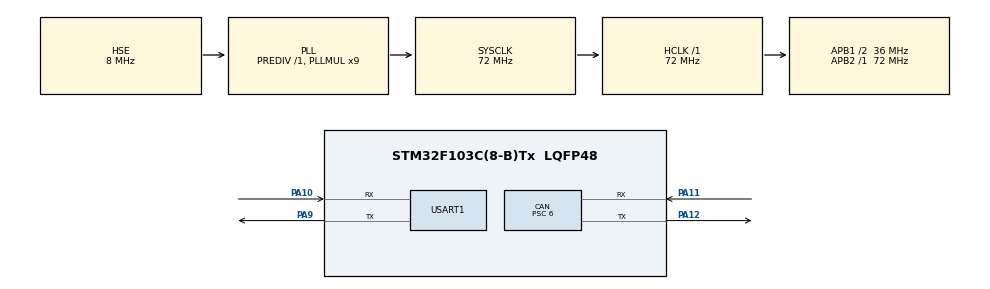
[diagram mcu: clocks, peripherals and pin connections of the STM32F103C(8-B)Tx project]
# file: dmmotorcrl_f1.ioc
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CAN.BS1=CAN_BS1_2TQ
CAN.BS2=CAN_BS2_3TQ
CAN.CalculateBaudRate=999999
CAN.CalculateTimeBit=1000
CAN.CalculateTimeQuantum=166.66666666666669
CAN.NART=ENABLE
CAN.Prescaler=6
Dma.Request0=USART1_TX
Dma.USART1_TX.0.Direction=DMA_MEMORY_TO_PERIPH
Dma.USART1_TX.0.Instance=DMA1_Channel4
Dma.USART1_TX.0.MemDataAlignment=DMA_MDATAALIGN_BYTE
Dma.USART1_TX.0.MemInc=DMA_MINC_ENABLE
Dma.USART1_TX.0.Mode=DMA_NORMAL
Dma.USART1_TX.0.PeriphDataAlignment=DMA_PDATAALIGN_BYTE
Dma.USART1_TX.0.PeriphInc=DMA_PINC_DISABLE
Dma.USART1_TX.0.Priority=DMA_PRIORITY_LOW
Mcu.Family=STM32F1
Mcu.Name=STM32F103C(8-B)Tx
Mcu.Package=LQFP48
NVIC.CAN1_RX1_IRQn=true\:0\:0\:false\:false\:true\:true\:true\:true
NVIC.DMA1_Channel4_IRQn=true\:0\:0\:false\:false\:true\:false\:true\:true
NVIC.PriorityGroup=NVIC_PRIORITYGROUP_4
NVIC.USB_LP_CAN1_RX0_IRQn=true\:0\:0\:false\:false\:true\:true\:true\:true
PA10.Mode=Asynchronous
PA10.Signal=USART1_RX
PA11.Mode=CAN_Activate
PA11.Signal=CAN_RX
PA12.Mode=CAN_Activate
PA12.Signal=CAN_TX
PA13.Mode=Serial_Wire
PA13.Signal=SYS_JTMS-SWDIO
PA14.Mode=Serial_Wire
PA14.Signal=SYS_JTCK-SWCLK
PA9.Mode=Asynchronous
PA9.Signal=USART1_TX
PD0-OSC_IN.Mode=HSE-External-Oscillator
PD0-OSC_IN.Signal=RCC_OSC_IN
PD1-OSC_OUT.Mode=HSE-External-Oscillator
PD1-OSC_OUT.Signal=RCC_OSC_OUT
ProjectManager.HeapSize=0x200
ProjectManager.StackSize=0x400
ProjectManager.TargetToolchain=MDK-ARM V5.32
RCC.AHBFreq_Value=72000000
RCC.APB1CLKDivider=RCC_HCLK_DIV2
RCC.APB1Freq_Value=36000000
RCC.APB1TimFreq_Value=72000000
RCC.APB2Freq_Value=72000000
RCC.APB2TimFreq_Value=72000000
RCC.HCLKFreq_Value=72000000
RCC.PLLMUL=RCC_PLL_MUL9
RCC.PLLSourceVirtual=RCC_PLLSOURCE_HSE
RCC.SYSCLKFreq_VALUE=72000000
RCC.SYSCLKSource=RCC_SYSCLKSOURCE_PLLCLK
RCC.USBFreq_Value=72000000
USART1.VirtualMode=VM_ASYNC
board=custom

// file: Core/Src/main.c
/* USER CODE BEGIN Header */
/**
  ******************************************************************************
  * @file           : main.c
  * @brief          : Main program body
  ******************************************************************************
  * @attention
  *
  * Copyright (c) 2026 STMicroelectronics.
  * All rights reserved.
  *
  * This software is licensed under terms that can be found in the LICENSE file
  * in the root directory of this software component.
  * If no LICENSE file comes with this software, it is provided AS-IS.
  *
  ******************************************************************************
  */
/* USER CODE END Header */
#include "main.h"
#include "can.h"
#include "dma.h"
#include "usart.h"
#include "gpio.h"

/* USER CODE BEGIN Includes */
#include "motor.h"
#include "vofa.h"
#include "PID.h"

/* USER CODE END Includes */

/* USER CODE BEGIN PV */
float pid_para[3] = {0.1,0,0};

/* USER CODE END PV */

void SystemClock_Config(void);

int main(void)
{

  /* MCU Configuration--------------------------------------------------------*/

  /* Reset of all peripherals, Initializes the Flash interface and the Systick. */
  HAL_Init();

  /* Configure the system clock */
  SystemClock_Config();

  /* Initialize all configured peripherals */
  MX_GPIO_Init();
  MX_DMA_Init();
  MX_CAN_Init();
  MX_USART1_UART_Init();
  /* USER CODE BEGIN 2 */
	CAN1_Filter_Config(&hcan);
	HAL_CAN_Start (&hcan);

	dm_motor_init() ;

	PID_TypeDef motor_speed_PID;
	PID_Init(&motor_speed_PID, 0,0,0);
	PID_SetOutputLimit(&motor_speed_PID,5,-5);
	PID_SetIntegralLimit(&motor_speed_PID,5,-5);
  /* USER CODE END 2 */

  /* Infinite loop */
  /* USER CODE BEGIN WHILE */
  while (1)
  {
		float t=1;
		motor_enable(&hcan, 0x01);
		HAL_Delay(5);
		motor_speed_PID.kp = pid_para[0];
		motor_speed_PID.ki = pid_para[1];
		motor_speed_PID.kd = pid_para[2];

		float v_target=motor.ctrl.vel_set=t;
		PID_SetTarget(&motor_speed_PID, v_target);

		float v_feedback= motor.para.vel;
		PID_SetFeedback(&motor_speed_PID , v_feedback);

		float tor=PID_Calculate(&motor_speed_PID, PID_POSITION );
		motor_ctrl( &hcan, 0x01,  0,  0, 0,  0,  tor);

		HAL_Delay(5);

		vofa_buff[0] = v_target;
		vofa_buff[1] = v_feedback;
		JustFloat(vofa_buff,2);
    /* USER CODE END WHILE */

  }
}

void SystemClock_Config(void)
{
  RCC_OscInitTypeDef RCC_OscInitStruct = {0};
  RCC_ClkInitTypeDef RCC_ClkInitStruct = {0};

  /** Initializes the RCC Oscillators according to the specified parameters
  * in the RCC_OscInitTypeDef structure.
  */
  RCC_OscInitStruct.OscillatorType = RCC_OSCILLATORTYPE_HSE;
  RCC_OscInitStruct.HSEState = RCC_HSE_ON;
  RCC_OscInitStruct.HSEPredivValue = RCC_HSE_PREDIV_DIV1;
  RCC_OscInitStruct.HSIState = RCC_HSI_ON;
  RCC_OscInitStruct.PLL.PLLState = RCC_PLL_ON;
  RCC_OscInitStruct.PLL.PLLSource = RCC_PLLSOURCE_HSE;
  RCC_OscInitStruct.PLL.PLLMUL = RCC_PLL_MUL9;
  if (HAL_RCC_OscConfig(&RCC_OscInitStruct) != HAL_OK)
  {
    Error_Handler();
  }

  /** Initializes the CPU, AHB and APB buses clocks
  */
  RCC_ClkInitStruct.ClockType = RCC_CLOCKTYPE_HCLK|RCC_CLOCKTYPE_SYSCLK
                              |RCC_CLOCKTYPE_PCLK1|RCC_CLOCKTYPE_PCLK2;
  RCC_ClkInitStruct.SYSCLKSource = RCC_SYSCLKSOURCE_PLLCLK;
  RCC_ClkInitStruct.AHBCLKDivider = RCC_SYSCLK_DIV1;
  RCC_ClkInitStruct.APB1CLKDivider = RCC_HCLK_DIV2;
  RCC_ClkInitStruct.APB2CLKDivider = RCC_HCLK_DIV1;

  if (HAL_RCC_ClockConfig(&RCC_ClkInitStruct, FLASH_LATENCY_2) != HAL_OK)
  {
    Error_Handler();
  }
}

/* USER CODE BEGIN 4 */
 void HAL_CAN_RxFifo0MsgPendingCallback(CAN_HandleTypeDef *hcan)
{
    CAN_RxHeaderTypeDef rx_header;
    uint8_t rx_data[8];

    if (HAL_CAN_GetRxMessage(hcan, CAN_RX_FIFO0, &rx_header, rx_data) == HAL_OK)
		{
        dm_motor_fbdata(&motor, rx_data);

		}
}
 void HAL_CAN_RxFifo1MsgPendingCallback(CAN_HandleTypeDef *hcan)
 {
    CAN_RxHeaderTypeDef rx_header;
    uint8_t rx_data[8];

    if (HAL_CAN_GetRxMessage(hcan, CAN_RX_FIFO0, &rx_header, rx_data) == HAL_OK)
		{
        dm_motor_fbdata(&motor, rx_data);

		}
}
/* USER CODE END 4 */

void Error_Handler(void)
{
  __disable_irq();
  while (1)
  {
  }
}
